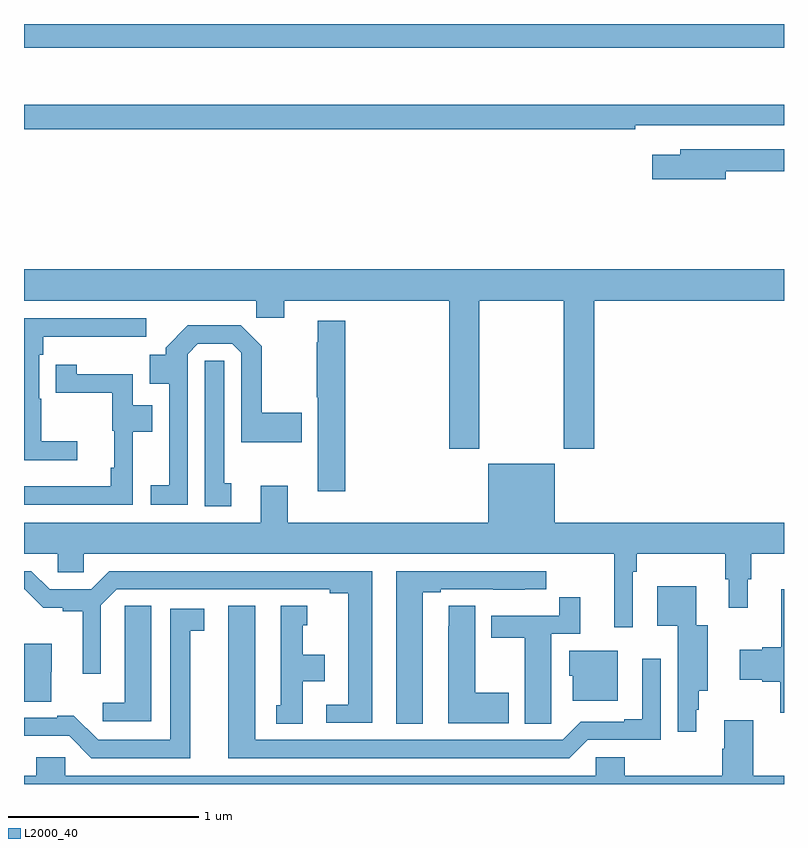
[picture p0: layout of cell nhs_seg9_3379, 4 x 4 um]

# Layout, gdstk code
import gdstk
lib = gdstk.Library(unit=1e-6, precision=1e-09)
def R(c, l, rs):  # rectangles x0, y0, x1, y1
    for r in rs: c.add(gdstk.rectangle(r[:2], r[2:], *l))
def P(c, l, *ps):  # polygons
    for p in ps: c.add(gdstk.Polygon(p, *l))
L2000_40 = (2000, 40)

nhs_seg9_3379 = lib.new_cell('nhs_seg9_3379')
R(nhs_seg9_3379, L2000_40, [(303,1240.376,307,1240.5)])
P(nhs_seg9_3379, L2000_40, [(306.218,1239.966),(307,1239.966),(307,1240.075),(303,1240.075),(303,1239.946),(306.218,1239.946)],
  [(306.694,1239.724),(307,1239.724),(307,1239.84),(306.455,1239.84),(306.455,1239.811),(306.306,1239.811),(306.306,1239.682),(306.694,1239.682)],
  [(305.397,1239.044),(305.842,1239.044),(305.842,1238.265),(306.002,1238.265),(306.002,1239.044),(307,1239.044),(307,1239.208),(303,1239.208),(303,1239.044),(304.222,1239.044),(304.222,1238.954),(304.369,1238.954),(304.369,1239.044),(305.237,1239.044),(305.237,1238.265),(305.397,1238.265)],
  [(303.28,1238.304),(303.091,1238.304),(303.091,1238.528),(303.081,1238.528),(303.081,1238.759),(303.101,1238.759),(303.101,1238.855),(303.643,1238.855),(303.643,1238.952),(303,1238.952),(303,1238.204),(303.28,1238.204)],
  [(304.691,1238.938),(304.547,1238.938),(304.547,1238.825),(304.54,1238.825),(304.54,1238.536),(304.547,1238.536),(304.547,1238.04),(304.691,1238.04)],
  [(303.861,1238.763),(303.915,1238.817),(304.095,1238.817),(304.143,1238.769),(304.143,1238.3),(304.462,1238.3),(304.462,1238.453),(304.252,1238.453),(304.252,1238.804),(304.142,1238.914),(303.862,1238.914),(303.745,1238.797),(303.745,1238.758),(303.662,1238.758),(303.662,1238.606),(303.765,1238.606),(303.765,1238.072),(303.666,1238.072),(303.666,1237.971),(303.861,1237.971)],
  [(304.09,1238.082),(304.054,1238.082),(304.054,1238.727),(303.95,1238.727),(303.95,1237.962),(304.09,1237.962)],
  [(303.573,1238.354),(303.676,1238.354),(303.676,1238.494),(303.573,1238.494),(303.573,1238.657),(303.277,1238.657),(303.277,1238.707),(303.166,1238.707),(303.166,1238.558),(303.465,1238.558),(303.465,1238.358),(303.476,1238.358),(303.476,1238.164),(303.457,1238.164),(303.457,1238.068),(303,1238.068),(303,1237.971),(303.573,1237.971)],
  [(306.204,1237.616),(306.224,1237.616),(306.224,1237.712),(306.691,1237.712),(306.691,1237.578),(306.71,1237.578),(306.71,1237.428),(306.808,1237.428),(306.808,1237.578),(306.827,1237.578),(306.827,1237.712),(307,1237.712),(307,1237.876),(305.794,1237.876),(305.794,1238.185),(305.444,1238.185),(305.444,1237.876),(304.387,1237.876),(304.387,1238.071),(304.247,1238.071),(304.247,1237.876),(303,1237.876),(303,1237.712),(303.177,1237.712),(303.177,1237.614),(303.315,1237.614),(303.315,1237.712),(306.107,1237.712),(306.107,1237.326),(306.204,1237.326)],
  [(304.834,1237.62),(303.449,1237.62),(303.353,1237.524),(303.135,1237.524),(303.039,1237.62),(303,1237.62),(303,1237.524),(303.003,1237.524),(303.101,1237.427),(303.204,1237.427),(303.204,1237.408),(303.308,1237.408),(303.308,1237.08),(303.405,1237.08),(303.405,1237.44),(303.489,1237.524),(304.61,1237.524),(304.61,1237.504),(304.706,1237.504),(304.706,1236.918),(304.59,1236.918),(304.59,1236.822),(304.834,1236.822)],
  [(305.098,1237.509),(305.194,1237.509),(305.194,1237.524),(305.47,1237.524),(305.47,1237.523),(305.636,1237.523),(305.636,1237.524),(305.749,1237.524),(305.749,1237.62),(304.958,1237.62),(304.958,1236.817),(305.098,1236.817)],
  [(306.538,1236.891),(306.55,1236.891),(306.55,1236.992),(306.598,1236.992),(306.598,1237.336),(306.538,1237.336),(306.538,1237.54),(306.332,1237.54),(306.332,1237.334),(306.44,1237.334),(306.44,1237.096),(306.441,1237.096),(306.441,1236.774),(306.538,1236.774)],
  [(307,1237.525),(306.986,1237.525),(306.986,1237.22),(306.885,1237.22),(306.885,1237.207),(306.768,1237.207),(306.768,1237.049),(306.885,1237.049),(306.885,1237.037),(306.979,1237.037),(306.979,1236.876),(307,1236.876)],
  [(305.775,1236.928),(305.776,1236.928),(305.776,1237.29),(305.927,1237.29),(305.927,1237.483),(305.818,1237.483),(305.818,1237.386),(305.459,1237.386),(305.459,1237.27),(305.636,1237.27),(305.636,1236.817),(305.775,1236.817)],
  [(303.67,1237.439),(303.531,1237.439),(303.531,1237.331),(303.53,1237.331),(303.53,1236.928),(303.414,1236.928),(303.414,1236.831),(303.67,1236.831)],
  [(305.551,1236.981),(305.374,1236.981),(305.374,1237.439),(305.235,1237.439),(305.235,1237.331),(305.234,1237.331),(305.234,1236.821),(305.551,1236.821)],
  [(304.468,1237.04),(304.582,1237.04),(304.582,1237.18),(304.468,1237.18),(304.468,1237.335),(304.492,1237.335),(304.492,1237.438),(304.352,1237.438),(304.352,1236.915),(304.328,1236.915),(304.328,1236.817),(304.468,1236.817)],
  [(305.967,1236.732),(306.351,1236.732),(306.351,1237.159),(306.254,1237.159),(306.254,1236.841),(306.158,1236.841),(306.158,1236.828),(305.931,1236.828),(305.835,1236.732),(304.216,1236.732),(304.216,1237.438),(304.076,1237.438),(304.076,1236.636),(305.871,1236.636)],
  [(303.874,1237.306),(303.949,1237.306),(303.949,1237.422),(303.77,1237.422),(303.77,1236.732),(303.39,1236.732),(303.262,1236.86),(303.176,1236.86),(303.176,1236.849),(303,1236.849),(303,1236.753),(303.237,1236.753),(303.354,1236.636),(303.874,1236.636)],
  [(303.144,1237.092),(303.145,1237.092),(303.145,1237.237),(303,1237.237),(303,1236.934),(303.144,1236.934)],
  [(306.124,1237.201),(305.87,1237.201),(305.87,1237.071),(305.888,1237.071),(305.888,1236.938),(306.124,1236.938)],
  [(307,1236.544),(306.839,1236.544),(306.839,1236.835),(306.686,1236.835),(306.686,1236.686),(306.674,1236.686),(306.674,1236.544),(306.161,1236.544),(306.161,1236.642),(306.009,1236.642),(306.009,1236.544),(303.216,1236.544),(303.216,1236.642),(303.065,1236.642),(303.065,1236.544),(303,1236.544),(303,1236.5),(307,1236.5)])

lib.write_gds('nhs_seg9_3379.gds')
